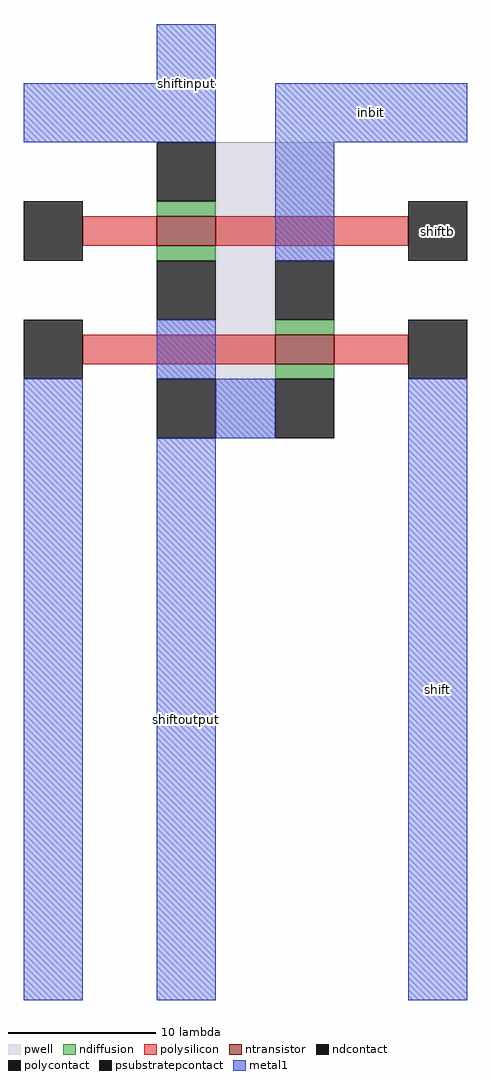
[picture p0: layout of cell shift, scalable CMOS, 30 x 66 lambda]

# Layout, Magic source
magic
tech scmos
<< pwell >>
rect -12 -18 0 2
<< polysilicon >>
rect -17 -5 -12 -3
rect -8 -5 5 -3
rect -17 -13 -4 -11
rect 0 -13 5 -11
<< ndiffusion >>
rect -12 -3 -8 -2
rect -12 -6 -8 -5
rect -4 -11 0 -10
rect -4 -14 0 -13
<< metal1 >>
rect -12 6 -8 10
rect -21 2 -8 6
rect -4 2 9 6
rect -4 -6 0 2
rect -21 -56 -17 -14
rect -12 -14 -8 -10
rect -8 -18 -4 -14
rect -12 -56 -8 -18
rect 5 -56 9 -14
<< ntransistor >>
rect -12 -5 -8 -3
rect -4 -13 0 -11
<< polycontact >>
rect -21 -6 -17 -2
rect 5 -6 9 -2
rect -21 -14 -17 -10
rect 5 -14 9 -10
<< ndcontact >>
rect -12 -2 -8 2
rect -12 -10 -8 -6
rect -4 -10 0 -6
rect -4 -18 0 -14
<< psubstratepcontact >>
rect -12 -18 -8 -14
<< labels >>
rlabel metal1 5 -56 9 -14 4 shift
rlabel polycontact 5 -6 9 -2 3 shiftb
rlabel metal1 -4 2 9 6 3 inbit
rlabel metal1 -12 2 -8 10 1 shiftinput
rlabel metal1 -12 -56 -8 -18 5 shiftoutput
<< end >>
